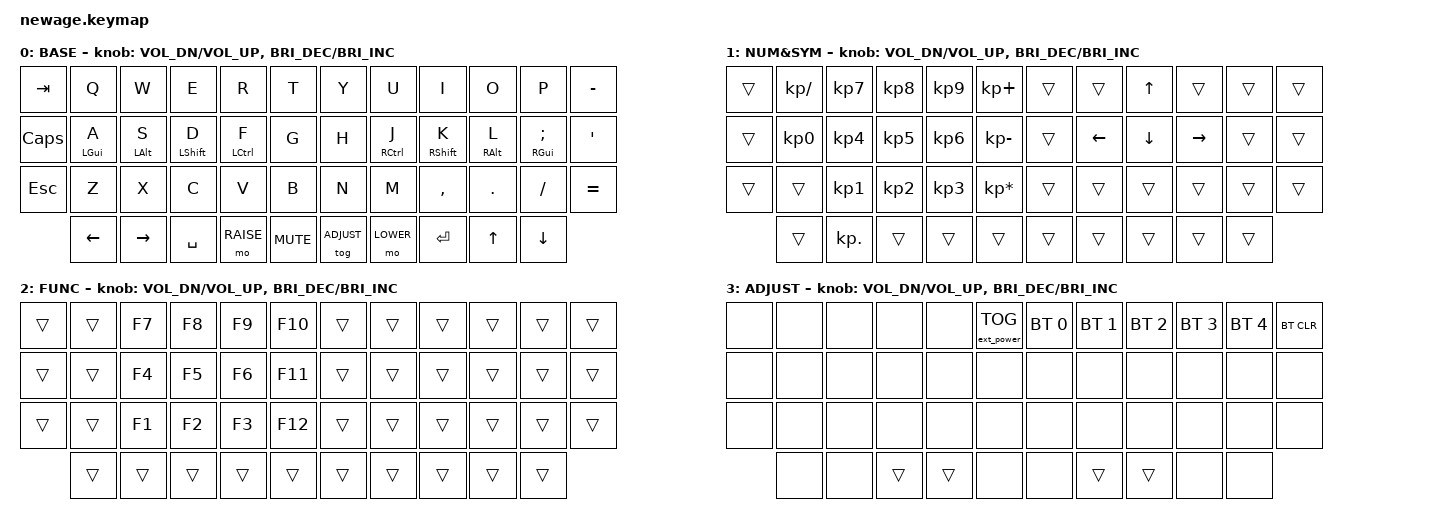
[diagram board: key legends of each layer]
#include <behaviors.dtsi>
#include <dt-bindings/zmk/bt.h>
#include <dt-bindings/zmk/ext_power.h>
#include <dt-bindings/zmk/keys.h>

#define BASE 0
#define LOWER 1
#define RAISE 2
#define ADJUST 3

/ {
    // Activate ADJUST layer by pressing raise and lower

    conditional_layers {
        compatible = "zmk,conditional-layers";

        adjust_layer {
            if-layers = <LOWER RAISE>;
            then-layer = <ADJUST>;
        };
    };

    behaviors {
        hml: hml {
            compatible = "zmk,behavior-hold-tap";
            label = "HML";
            bindings = <&kp>, <&kp>;

            #binding-cells = <2>;
            tapping-term-ms = <280>;
            quick-tap-ms = <175>;
            flavor = "balanced";
            hold-trigger-key-positions = <36 37 38 6 7 8 9 10 11 18 19 20 21 22 23 30 31 32 33 34 35 39 40 41>;
            hold-trigger-on-release;
        };

        hmr: hmr {
            compatible = "zmk,behavior-hold-tap";
            label = "HMR";
            bindings = <&kp>, <&kp>;

            #binding-cells = <2>;
            tapping-term-ms = <280>;
            quick-tap-ms = <175>;
            flavor = "balanced";
            hold-trigger-on-release;
            hold-trigger-key-positions = <39 40 41 0 1 2 3 4 5 12 13 14 15 16 17 24 25 26 27 28 29 36 37 38>;
        };

        mtl: mtl {
            compatible = "zmk,behavior-hold-tap";
            label = "MTL";
            bindings = <&mo>, <&tog>;

            #binding-cells = <2>;
            tapping-term-ms = <280>;
            quick-tap-ms = <175>;
            flavor = "balanced";
            hold-trigger-key-positions = <36 37 38 6 7 8 9 10 11 18 19 20 21 22 23 30 31 32 33 34 35 39 40 41>;
            hold-trigger-on-release;
        };

        mtr: mtr {
            compatible = "zmk,behavior-hold-tap";
            label = "MTR";
            bindings = <&mo>, <&tog>;

            #binding-cells = <2>;
            tapping-term-ms = <280>;
            quick-tap-ms = <175>;
            flavor = "balanced";
            hold-trigger-on-release;
            hold-trigger-key-positions = <39 40 41 0 1 2 3 4 5 12 13 14 15 16 17 24 25 26 27 28 29 36 37 38>;
        };
    };

    combos {
        compatible = "zmk,combos";

        backspace {
            bindings = <&kp BACKSPACE>;
            key-positions = <7 8>;
        };

        delete {
            bindings = <&kp DELETE>;
            key-positions = <8 9>;
        };
    };

    keymap {
        compatible = "zmk,keymap";

        default_layer {
            display-name = "BASE";
            bindings = <
&kp TAB       &kp Q            &kp W            &kp E              &kp R         &kp T         &kp Y        &kp U                 &kp I               &kp O             &kp P                     &kp MINUS
&kp CAPSLOCK  &hml LEFT_GUI A  &hml LEFT_ALT S  &hml LEFT_SHIFT D  &hml LCTRL F  &kp G         &kp H        &hmr RIGHT_CONTROL J  &hmr RIGHT_SHIFT K  &hmr RIGHT_ALT L  &hmr RIGHT_GUI SEMICOLON  &kp SQT
&kp ESCAPE    &kp Z            &kp X            &kp C              &kp V         &kp B         &kp N        &kp M                 &kp COMMA           &kp DOT           &kp FSLH                  &kp EQUAL
              &kp LEFT_ARROW   &kp RIGHT        &kp SPACE          &mo RAISE     &kp C_MUTE    &tog ADJUST  &mo LOWER             &kp RET             &kp UP_ARROW      &kp DOWN_ARROW
            >;

            sensor-bindings = <&inc_dec_kp C_VOL_DN C_VOL_UP &inc_dec_kp C_BRI_DEC C_BRI_INC>;
        };

        lower_layer {
            display-name = "NUM&SYM";
            bindings = <
&trans  &kp KP_DIVIDE  &kp KP_N7   &kp KP_N8  &kp KP_N9  &kp KP_PLUS        &trans  &trans    &kp UP    &trans     &trans  &trans
&trans  &kp KP_N0      &kp KP_N4   &kp KP_N5  &kp KP_N6  &kp KP_MINUS       &trans  &kp LEFT  &kp DOWN  &kp RIGHT  &trans  &trans
&trans  &trans         &kp KP_N1   &kp KP_N2  &kp KP_N3  &kp KP_MULTIPLY    &trans  &trans    &trans    &trans     &trans  &trans
        &trans         &kp KP_DOT  &trans     &trans     &trans             &trans  &trans    &trans    &trans     &trans
            >;

            sensor-bindings = <&inc_dec_kp C_VOL_DN C_VOL_UP &inc_dec_kp C_BRI_DEC C_BRI_INC>;
        };

        raise_layer {
            display-name = "FUNC";
            bindings = <
&trans  &trans  &kp F7  &kp F8  &kp F9  &kp F10    &trans  &trans  &trans  &trans  &trans  &trans
&trans  &trans  &kp F4  &kp F5  &kp F6  &kp F11    &trans  &trans  &trans  &trans  &trans  &trans
&trans  &trans  &kp F1  &kp F2  &kp F3  &kp F12    &trans  &trans  &trans  &trans  &trans  &trans
        &trans  &trans  &trans  &trans  &trans     &trans  &trans  &trans  &trans  &trans
            >;

            sensor-bindings = <&inc_dec_kp C_VOL_DN C_VOL_UP &inc_dec_kp C_BRI_DEC C_BRI_INC>;
        };

        adjust_layer {
            display-name = "ADJUST";
            bindings = <
&none  &none  &none  &none   &none   &ext_power EP_TOG    &bt BT_SEL 0  &bt BT_SEL 1  &bt BT_SEL 2  &bt BT_SEL 3  &bt BT_SEL 4  &bt BT_CLR
&none  &none  &none  &none   &none   &none                &none         &none         &none         &none         &none         &none
&none  &none  &none  &none   &none   &none                &none         &none         &none         &none         &none         &none
       &none  &none  &trans  &trans  &none                &none         &trans        &trans        &none         &none
            >;

            sensor-bindings = <&inc_dec_kp C_VOL_DN C_VOL_UP &inc_dec_kp C_BRI_DEC C_BRI_INC>;
        };
    };
};
